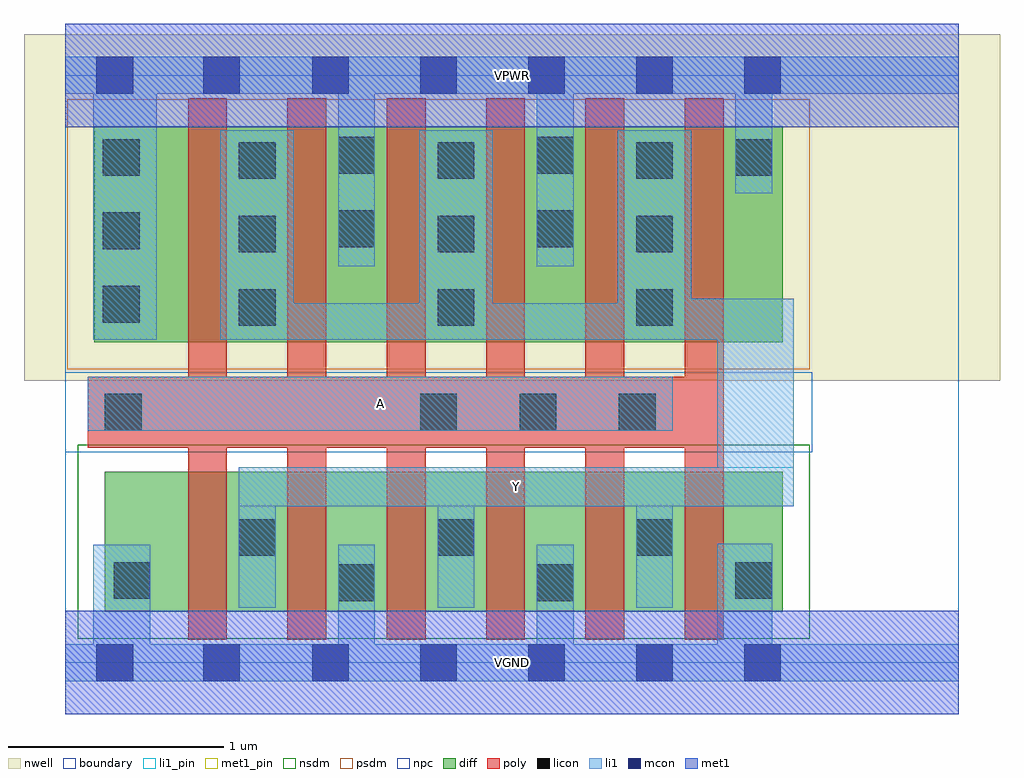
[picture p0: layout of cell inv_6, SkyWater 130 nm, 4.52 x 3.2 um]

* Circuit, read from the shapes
.subckt inv_6 A VGND VPWR Y
XM1 Y A VGND VSUBS sky130_fd_pr__nfet_01v8 w=0.65 l=0.18 m=6
XM2 Y A VPWR n1 sky130_fd_pr__pfet_01v8 w=1 l=0.18 m=6
.ends

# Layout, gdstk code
import gdstk
lib = gdstk.Library(unit=1e-6, precision=1e-09)
def R(c, l, rs):  # rectangles x0, y0, x1, y1
    for r in rs: c.add(gdstk.rectangle(r[:2], r[2:], *l))
def A(c, l, x, y, w, h, nx, ny, dx, dy):  # array of equal rectangles
    R(c, l, [(x+i*dx, y+j*dy, x+i*dx+w, y+j*dy+h) for i in range(nx) for j in range(ny)])
nwell = (64, 20)
diff = (65, 20)
poly = (66, 20)
licon = (66, 44)
li1_pin = (67, 16)
li1 = (67, 20)
mcon = (67, 44)
met1_pin = (68, 16)
met1 = (68, 20)
nsdm = (93, 44)
psdm = (94, 20)
npc = (95, 20)
boundary = (235, 4)

inv_6 = lib.new_cell('inv_6')
R(inv_6, nwell, [(-0.19,1.305,4.33,2.91), (0,1.305,4.14,2.91)])
R(inv_6, diff, [(0.185,0.235,3.325,0.885), (0.135,1.485,3.325,2.485)])
A(inv_6, poly, 0.57, 0.105, 0.18, 2.51, 6, 1, 0.46, 0)
R(inv_6, poly, [(0.105,0.995,3.05,1.325)])
A(inv_6, licon, 0.805, 0.495, 0.17, 0.17, 3, 2, 0.92, 1.065)
A(inv_6, licon, 1.645, 1.075, 0.17, 0.17, 3, 1, 0.46, 0)
A(inv_6, licon, 0.175, 1.575, 0.17, 0.17, 1, 3, 0, 0.34)
A(inv_6, licon, 0.805, 1.9, 0.17, 0.17, 3, 2, 0.92, 0.34)
R(inv_6, licon, [(1.265,0.285,1.435,0.455), (2.185,0.285,2.355,0.455), (0.225,0.295,0.395,0.465), (3.105,0.295,3.275,0.465), (0.185,1.075,0.355,1.245), (1.265,1.925,1.435,2.095), (2.185,1.925,2.355,2.095), (3.105,2.255,3.275,2.425), (1.265,2.265,1.435,2.435), (2.185,2.265,2.355,2.435)])
R(inv_6, li1_pin, [(0.805,0.725,3.375,0.905), (0.105,1.075,2.815,1.325)])
A(inv_6, li1, 0.805, 0.255, 0.17, 0.65, 3, 1, 0.92, 0)
A(inv_6, li1, 0.72, 1.495, 0.34, 0.97, 3, 1, 0.92, 0)
R(inv_6, li1, [(0,-0.085,4.14,0.085), (0.13,-0.085,0.395,0.545), (1.265,-0.085,1.435,0.545), (2.185,-0.085,2.355,0.545), (3.02,-0.085,3.275,0.55), (0.805,0.725,3.375,0.905), (3.02,0.725,3.375,1.685), (0.105,1.075,2.815,1.325), (0.13,1.495,0.425,2.805), (0.72,1.495,3.375,1.665), (2.56,1.495,3.375,1.685), (1.265,1.835,1.435,2.805), (2.185,1.835,2.355,2.805), (3.105,2.175,3.275,2.805), (0,2.635,4.14,2.805)])
A(inv_6, mcon, 1.145, -0.085, 0.17, 0.17, 5, 2, 0.5, 2.72)
R(inv_6, mcon, [(0.145,-0.085,0.315,0.085), (0.64,-0.085,0.81,0.085), (0.145,2.635,0.315,2.805), (0.64,2.635,0.81,2.805)])
R(inv_6, met1_pin, [(0,-0.24,4.14,0.24), (0,2.48,4.14,2.96)])
R(inv_6, met1, [(0,-0.24,4.14,0.24), (0,2.48,4.14,2.96)])
R(inv_6, nsdm, [(0.06,0.11,3.45,1.01)])
R(inv_6, psdm, [(0.01,1.36,3.45,2.61)])
R(inv_6, npc, [(0,0.975,3.46,1.345)])
R(inv_6, boundary, [(0,0,4.14,2.72)])
inv_6.add(gdstk.Label('A', (1.46,1.2), layer=67, texttype=5))
inv_6.add(gdstk.Label('Y', (2.09,0.815), layer=67, texttype=5))
inv_6.add(gdstk.Label('VPWR', (2.07,2.72), layer=68, texttype=5))
inv_6.add(gdstk.Label('VGND', (2.07,0), layer=68, texttype=5))
inv_6.add(gdstk.Label('A', (1.46,1.2), layer=67, texttype=16))
inv_6.add(gdstk.Label('Y', (2.09,0.815), layer=67, texttype=16))
inv_6.add(gdstk.Label('VPWR', (2.07,2.72), layer=68, texttype=16))
inv_6.add(gdstk.Label('VGND', (2.07,0), layer=68, texttype=16))

lib.write_gds('inv_6.gds')
